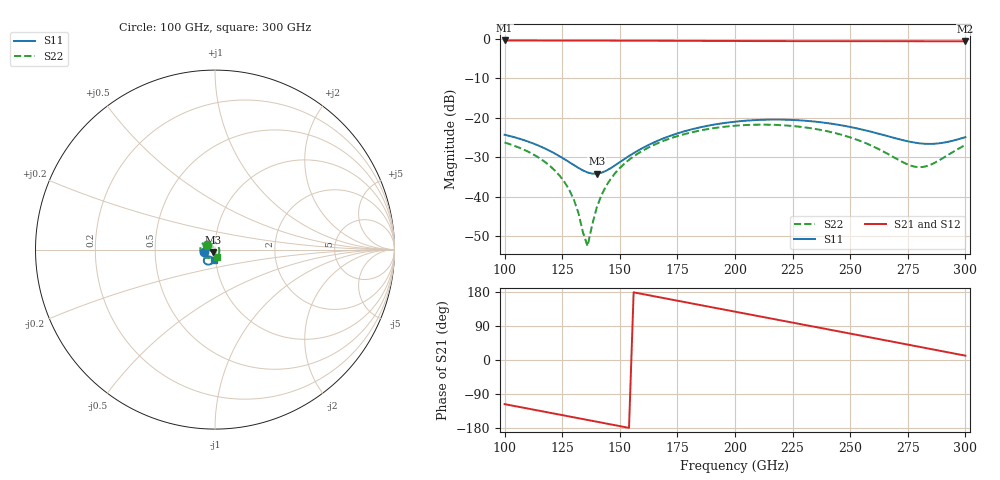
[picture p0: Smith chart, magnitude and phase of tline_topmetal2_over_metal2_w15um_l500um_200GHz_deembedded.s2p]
! Created with skrf 2.0.1 (http://scikit-rf.org).
# GHz S DB R 50.0
!freq dBS11 angS11 dBS21 angS21 dBS12 angS12 dBS22 angS22
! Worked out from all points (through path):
!   101 points, 100 GHz to 300 GHz, reference 50 ohm
!   highest |S21| = -0.37 dB at 100 GHz (marker M1); lowest = -0.6 dB at 300 GHz (marker M2)
!   group delay of S21, straight-line fit = 3.22 ps
!   lowest |S11| = -34.2 dB at 140 GHz (marker M3), VSWR 1.04, Z = 48.7 - j1.44 ohm
!   |S11| at or under -10 dB: start of sweep to end of sweep
!   |S22| runs from -52.6 to -21.7 dB; largest |S21 - S12| = 1.1e-14
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100  -24.30 -166.7  -0.37 -116.5  -0.37 -116.5  -26.28 150.9
114  -26.88 -173.8  -0.39 -132.7  -0.39 -132.7  -29.82 130.1
124  -29.80 -172.1  -0.40 -144.3  -0.40 -144.3  -34.78 113.2
130  -31.98 -164.4  -0.40 -151.2  -0.40 -151.2  -40.68 97.8
132  -32.70 -159.8  -0.40 -153.6  -0.40 -153.6  -44.06 87.9
134  -33.35 -154.0  -0.41 -155.9  -0.41 -155.9  -49.07 66.0
136  -33.87 -147.0  -0.41 -158.2  -0.41 -158.2  -52.58 1.4
140  -34.20 -130.5  -0.41 -162.9  -0.41 -162.9  -42.74 -63.2
144  -33.46 -114.8  -0.42 -167.5  -0.42 -167.5  -37.36 -77.3
150  -31.26 -99.5  -0.42 -174.5  -0.42 -174.5  -32.75 -89.5
158  -28.29 -92.0  -0.44 176.2  -0.44 176.2  -29.02 -102.5
168  -25.44 -92.3  -0.45 164.6  -0.45 164.6  -26.08 -117.3
184  -22.53 -100.3  -0.48 146.1  -0.48 146.1  -23.33 -140.2
200  -20.99 -111.2  -0.51 127.5  -0.51 127.5  -22.02 -162.9
218  -20.46 -123.8  -0.53 106.7  -0.53 106.7  -21.82 170.9
234  -20.93 -133.6  -0.55 88.2  -0.55 88.2  -22.75 146.2
252  -22.57 -140.6  -0.56 67.4  -0.56 67.4  -25.37 113.9
268  -24.94 -137.5  -0.56 48.8  -0.56 48.8  -29.71 71.4
276  -26.09 -129.8  -0.57 39.5  -0.57 39.5  -32.09 34.9
282  -26.58 -120.9  -0.57 32.5  -0.57 32.5  -32.44 -0.7
290  -26.37 -107.7  -0.58 23.1  -0.58 23.1  -30.32 -42.4
300  -24.90 -95.3  -0.59 11.5  -0.59 11.5  -26.88 -75.8
